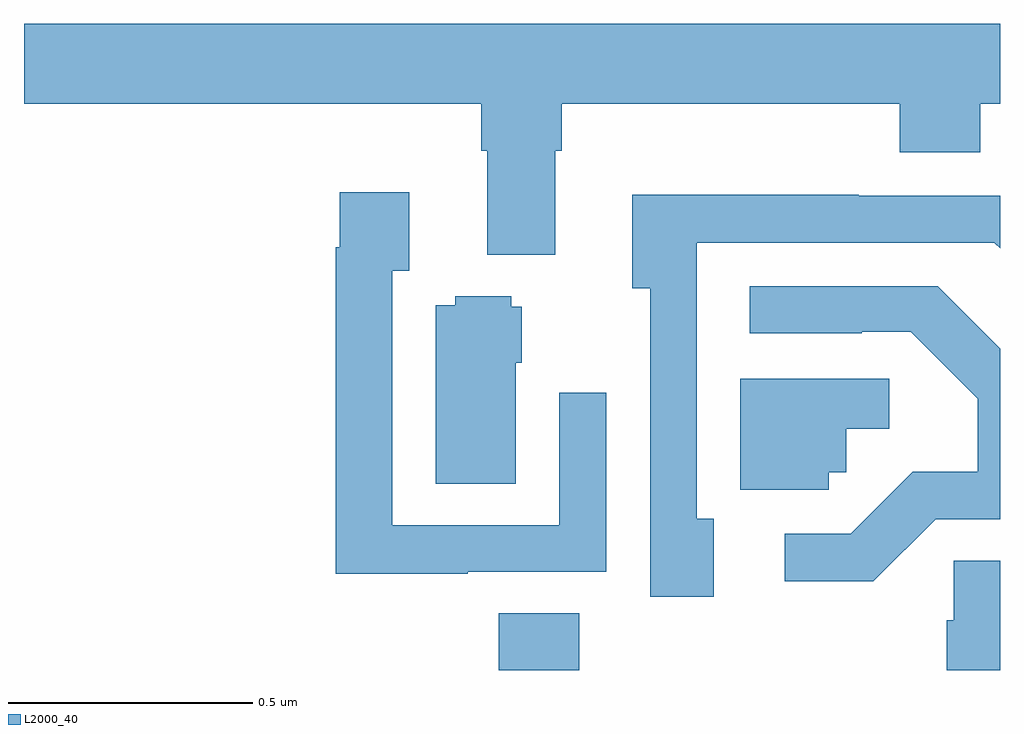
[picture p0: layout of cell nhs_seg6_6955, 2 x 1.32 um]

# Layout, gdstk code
import gdstk
lib = gdstk.Library(unit=1e-6, precision=1e-09)
def R(c, l, rs):  # rectangles x0, y0, x1, y1
    for r in rs: c.add(gdstk.rectangle(r[:2], r[2:], *l))
def P(c, l, *ps):  # polygons
    for p in ps: c.add(gdstk.Polygon(p, *l))
L2000_40 = (2000, 40)

nhs_seg6_6955 = lib.new_cell('nhs_seg6_6955')
R(nhs_seg6_6955, L2000_40, [(202.973,955.5,203.138,955.616)])
P(nhs_seg6_6955, L2000_40, [(203.089,956.564),(203.102,956.564),(203.102,956.66),(203.795,956.66),(203.795,956.561),(203.96,956.561),(203.96,956.66),(204,956.66),(204,956.824),(202,956.824),(202,956.66),(202.937,956.66),(202.937,956.564),(202.949,956.564),(202.949,956.351),(203.089,956.351)],
  [(202.909,955.701),(203.193,955.701),(203.193,956.068),(203.097,956.068),(203.097,955.797),(202.755,955.797),(202.755,956.318),(202.789,956.318),(202.789,956.479),(202.647,956.479),(202.647,956.366),(202.639,956.366),(202.639,955.697),(202.909,955.697)],
  [(203.413,955.81),(203.379,955.81),(203.379,956.376),(203.988,956.376),(204,956.364),(204,956.472),(203.711,956.472),(203.711,956.474),(203.246,956.474),(203.246,956.282),(203.283,956.282),(203.283,955.65),(203.413,955.65)],
  [(203.868,955.809),(204,955.809),(204,956.158),(203.872,956.286),(203.487,956.286),(203.487,956.19),(203.717,956.19),(203.717,956.193),(203.817,956.193),(203.954,956.056),(203.954,955.906),(203.821,955.906),(203.694,955.779),(203.559,955.779),(203.559,955.682),(203.74,955.682)],
  [(203.008,956.13),(203.02,956.13),(203.02,956.244),(202.998,956.244),(202.998,956.266),(202.884,956.266),(202.884,956.248),(202.844,956.248),(202.844,955.882),(203.008,955.882)],
  [(203.649,955.905),(203.685,955.905),(203.685,955.994),(203.773,955.994),(203.773,956.097),(203.468,956.097),(203.468,955.869),(203.649,955.869)],
  [(204,955.724),(203.905,955.724),(203.905,955.602),(203.891,955.602),(203.891,955.5),(204,955.5)])

lib.write_gds('nhs_seg6_6955.gds')
